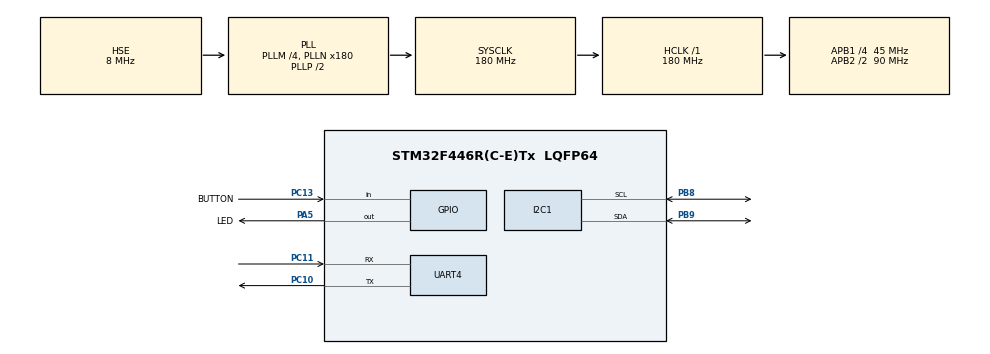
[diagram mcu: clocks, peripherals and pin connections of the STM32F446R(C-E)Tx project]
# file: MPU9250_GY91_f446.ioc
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Mcu.Family=STM32F4
Mcu.Name=STM32F446R(C-E)Tx
Mcu.Package=LQFP64
NVIC.PriorityGroup=NVIC_PRIORITYGROUP_4
PA13.Mode=Serial_Wire
PA13.Signal=SYS_JTMS-SWDIO
PA14.Mode=Serial_Wire
PA14.Signal=SYS_JTCK-SWCLK
PA5.GPIO_Label=LED
PA5.Signal=GPIO_Output
PB8.GPIO_Pu=GPIO_PULLUP
PB8.Mode=I2C
PB8.Signal=I2C1_SCL
PB9.GPIO_Pu=GPIO_PULLUP
PB9.Mode=I2C
PB9.Signal=I2C1_SDA
PC10.Mode=Asynchronous
PC10.Signal=UART4_TX
PC11.Mode=Asynchronous
PC11.Signal=UART4_RX
PC13.GPIO_Label=BUTTON
PC13.Signal=GPIO_Input
PC14-OSC32_IN.Mode=LSE-External-Oscillator
PC14-OSC32_IN.Signal=RCC_OSC32_IN
PC15-OSC32_OUT.Mode=LSE-External-Oscillator
PC15-OSC32_OUT.Signal=RCC_OSC32_OUT
PH0-OSC_IN.Mode=HSE-External-Clock-Source
PH0-OSC_IN.Signal=RCC_OSC_IN
PH1-OSC_OUT.Mode=HSE-External-Clock-Source
PH1-OSC_OUT.Signal=RCC_OSC_OUT
ProjectManager.HeapSize=0x200
ProjectManager.StackSize=0x400
ProjectManager.TargetToolchain=STM32CubeIDE
RCC.AHBFreq_Value=180000000
RCC.APB1CLKDivider=RCC_HCLK_DIV4
RCC.APB1Freq_Value=45000000
RCC.APB1TimFreq_Value=90000000
RCC.APB2CLKDivider=RCC_HCLK_DIV2
RCC.APB2Freq_Value=90000000
RCC.APB2TimFreq_Value=180000000
RCC.CortexFreq_Value=180000000
RCC.HCLKFreq_Value=180000000
RCC.HSE_VALUE=8000000
RCC.PLLM=4
RCC.PLLN=180
RCC.PLLSourceVirtual=RCC_PLLSOURCE_HSE
RCC.SYSCLKFreq_VALUE=180000000
RCC.SYSCLKSource=RCC_SYSCLKSOURCE_PLLCLK
RCC.USBFreq_Value=180000000
RCC.VCOOutputFreq_Value=360000000
UART4.VirtualMode=Asynchronous
board=custom

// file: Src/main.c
/* USER CODE BEGIN Header */
/**
  ******************************************************************************
  * @file           : main.c
  * @brief          : Main program body
  ******************************************************************************
  * @attention
  *
  * <h2><center>&copy; Copyright (c) 2020 STMicroelectronics.
  * All rights reserved.</center></h2>
  *
  * This software component is licensed by ST under BSD 3-Clause license,
  * the "License"; You may not use this file except in compliance with the
  * License. You may obtain a copy of the License at:
  *                        opensource.org/licenses/BSD-3-Clause
  *
  ******************************************************************************
  */
/* USER CODE END Header */
#include "main.h"
#include "i2c.h"
#include "usart.h"
#include "gpio.h"

/* USER CODE BEGIN Includes */

	#include <string.h>
	#include "stdio.h"
	#include "lcd.h"
	#include "i2c_techmaker_sm.h"
	#include "BMP280_sm.h"
	#include "MPU9250_sm.h"
	#include "MadgwickAHRS_sm.h"

/* USER CODE END Includes */

void SystemClock_Config(void);

int main(void)
{

  /* MCU Configuration--------------------------------------------------------*/

  /* Reset of all peripherals, Initializes the Flash interface and the Systick. */
  HAL_Init();

  /* Configure the system clock */
  SystemClock_Config();

  /* Initialize all configured peripherals */
  MX_GPIO_Init();
  MX_UART4_Init();
  MX_I2C1_Init();
  /* USER CODE BEGIN 2 */

	char		debugString[150]	= {0};
	sprintf(debugString,"MPU-9250.\r\n");
	HAL_UART_Transmit(&huart4, (uint8_t *)debugString, strlen(debugString), 100);

	LCD_Init() ;
	LCD_SetRotation( 1 ) ;
	LCD_SetCursor( 0 , 0 ) ;
	LCD_FillScreen( ILI92_BLACK ) ;
	LCD_SetTextColor( ILI92_GREEN , ILI92_BLACK) ;
	sprintf(debugString,">> LCD_Init - Ok\r\n" );HAL_UART_Transmit(&huart4,(uint8_t*)debugString,strlen(debugString),100) ;
	LCD_Printf( "%s" , debugString ) ;

	#define	SOFT_VERSION	110
	int		soft_version_arr_int[3] = {0} ;
	soft_version_arr_int[0] 	= ((SOFT_VERSION) / 100) %10 ;
	soft_version_arr_int[1] 	= ((SOFT_VERSION) /  10) %10 ;
	soft_version_arr_int[2] 	= ((SOFT_VERSION)      ) %10 ;
	sprintf (	debugString																			,
				"MPU-9250.\r\n2020-May-22 v%d.%d.%d \r\nfor_debug UART4 115200/8-N-1\r\n"	,
				soft_version_arr_int[0]																,
				soft_version_arr_int[1]																,
				soft_version_arr_int[2]																) ;

	LCD_Printf( "%s" , debugString ) ;
	HAL_UART_Transmit(&huart4, (uint8_t *)debugString, strlen(debugString), 100);

	I2Cdev_init(&hi2c1);
	I2C_ScanBusFlow(&hi2c1, &huart4);

	double temp = 0, alt = 0;
	double press = 0;
	int8_t com_rslt = 13;
	float ax, ay, az;
	float gx, gy, gz;
	float mx, my, mz;
	float aX, aY, aZ;	// angle
	uint32_t lastTime, currentTime, drawTime;

	#define ANGLEBASE 20.0
	#define PI180 0.017453292
	#define COS45 0.7071
	#define R1 25
	#define R2 50
	int cntr_int	= 0;

	//LCD_Printf("Connecting to BMP280...\n");
	sprintf(debugString,"Connecting to BMP280... ");
	HAL_UART_Transmit(&huart4, (uint8_t *)debugString, strlen(debugString), 100);
	LCD_Printf("%s" , debugString);

	bmp280_t bmp280;
	com_rslt = BMP280_init(&bmp280);
	com_rslt += BMP280_set_power_mode(BMP280_NORMAL_MODE);
	com_rslt += BMP280_set_work_mode(BMP280_STANDARD_RESOLUTION_MODE);
	com_rslt += BMP280_set_standby_durn(BMP280_STANDBY_TIME_1_MS);
	if (com_rslt != SUCCESS) {
		sprintf(debugString," Check BMP280 connection! \t Program terminated!!!<<<<\r\n");
		HAL_UART_Transmit(&huart4, (uint8_t *)debugString, strlen(debugString), 100);
		LCD_Printf("%s" , debugString);
		//return 0;
	} else {
		//	LCD_Printf("Connection successful!\n");
		sprintf(debugString,"Connection successful!\r\n");
		HAL_UART_Transmit(&huart4, (uint8_t *)debugString, strlen(debugString), 100);
		LCD_Printf("%s" , debugString);
	}

	//LCD_Printf("Connecting to MPU9250...\n");
	sprintf(debugString,"Connecting to MPU9250...");
	HAL_UART_Transmit(&huart4, (uint8_t *)debugString, strlen(debugString), 100);
	LCD_Printf("%s" , debugString);

	while(!MPU9250_testConnection());
	MPU9250_initialize();
	MPU9250_setFullScaleGyroRange(MPU9250_GYRO_FS_1000); // 1000 град/сек
	MPU9250_setFullScaleAccelRange(MPU9250_ACCEL_FS_4); // 4g
	//LCD_Printf("Connection successful!\n\n");
	sprintf(debugString," connection successful!\r\n");
	HAL_UART_Transmit(&huart4, (uint8_t *)debugString, strlen(debugString), 100);
	LCD_Printf("%s" , debugString);

	Madgwick_init();
	lastTime = drawTime = HAL_GetTick();

	HAL_Delay(1000);
	LCD_FillScreen(ILI92_BLACK);

  /* USER CODE END 2 */

  /* Infinite loop */
  /* USER CODE BEGIN WHILE */
  while (1)
  {
		HAL_GPIO_TogglePin(LED_GPIO_Port,LED_Pin);
		HAL_Delay(1000);

		BMP280_read_temperature_double(&temp);
		BMP280_read_pressure_double(&press);
		alt = BMP280_calculate_altitude(102900); // insert actual data here

		MPU9250_getMotion9Real(&ax, &ay, &az, &gx, &gy, &gz, &mx, &my, &mz);

		currentTime = HAL_GetTick();
		Madgwick_update(gx, gy, gz, ax, ay, az, mx, my, mz, (currentTime - lastTime)/1000.0);
		lastTime = currentTime;

		aX = Madgwick_getPitch() ;
		aY = Madgwick_getRoll()  ;
		aZ = Madgwick_getYaw() - 180.0 ;

		LCD_SetCursor(0, 0);
		LCD_FillScreen(ILI92_BLACK);
			//	LCD_Printf("T: %6.2f C  P: %6.0f Pa  A: %3.0f m\n", temp, press, alt);
		sprintf(debugString,"T: %6.2f C  P: %6.0f Pa  A: %3.0f m\r\n", temp, press, alt);
		HAL_UART_Transmit(&huart4, (uint8_t *)debugString, strlen(debugString), 100);
		LCD_Printf("%s" , debugString);

			//	LCD_Printf("Accel:   %7.4f %7.4f %7.4f\n", ax, ay, az);
		sprintf(debugString,"Accel:   %7.4f %7.4f %7.4f\r\n", ax, ay, az);
		HAL_UART_Transmit(&huart4, (uint8_t *)debugString, strlen(debugString), 100);
		LCD_Printf("%s" , debugString);

			//	LCD_Printf("Gyro:    %7.4f %7.4f %7.4f\n", gx, gy, gz);
		sprintf(debugString,"Gyro:    %7.4f %7.4f %7.4f\r\n", gx, gy, gz);
		HAL_UART_Transmit(&huart4, (uint8_t *)debugString, strlen(debugString), 100);
		LCD_Printf("%s" , debugString);

			//	LCD_Printf("Compass: %7.1f %7.1f %7.1f\n\n", mx, my, mz);
		sprintf(debugString,"Compass: %7.1f %7.1f %7.1f\r\n", mx, my, mz);
		HAL_UART_Transmit(&huart4, (uint8_t *)debugString, strlen(debugString), 100);
		LCD_Printf("%s" , debugString);

			//	LCD_Printf("Madg: X: %5.1f Y: %5.1f Z: %5.1f\n", aX, aY, aZ);
		sprintf(debugString,"Madg: X: %5.1f Y: %5.1f Z: %5.1f\r\n\r\n", aX, aY, aZ);
		HAL_UART_Transmit(&huart4, (uint8_t *)debugString, strlen(debugString), 100);
		LCD_Printf("%s" , debugString);

		//sprintf(debugString,"%04d\t%5.1f\t%5.1f\t%5.1f\r\n",cntr_int++, aX), aY, aZ);
		sprintf(debugString,"%04d\t%5d\t%5d\t%5d\r\n",cntr_int++, (int)aX, (int)aY, (int)aZ ) ;
		HAL_UART_Transmit(&huart4, (uint8_t *)debugString, strlen(debugString), 100);

		//LCD_Printf("Max : X: %5.1f Y: %5.1f Z: %5.1f\n", aXmax, aYmax, aZmax);
		//LCD_Printf("Min : X: %5.1f Y: %5.1f Z: %5.1f\n", aXmin, aYmin, aZmin);

		//LCD_Printf("Old_Madg: P: %5.1f R: %5.1f Y: %5.1f\n", Madgwick_getPitch(), Madgwick_getRoll(), Madgwick_getYaw() );

    /* USER CODE END WHILE */

  }
}

void SystemClock_Config(void)
{
  RCC_OscInitTypeDef RCC_OscInitStruct = {0};
  RCC_ClkInitTypeDef RCC_ClkInitStruct = {0};

  /** Configure the main internal regulator output voltage
  */
  __HAL_RCC_PWR_CLK_ENABLE();
  __HAL_PWR_VOLTAGESCALING_CONFIG(PWR_REGULATOR_VOLTAGE_SCALE1);

  /** Initializes the RCC Oscillators according to the specified parameters
  * in the RCC_OscInitTypeDef structure.
  */
  RCC_OscInitStruct.OscillatorType = RCC_OSCILLATORTYPE_HSE;
  RCC_OscInitStruct.HSEState = RCC_HSE_BYPASS;
  RCC_OscInitStruct.PLL.PLLState = RCC_PLL_ON;
  RCC_OscInitStruct.PLL.PLLSource = RCC_PLLSOURCE_HSE;
  RCC_OscInitStruct.PLL.PLLM = 4;
  RCC_OscInitStruct.PLL.PLLN = 180;
  RCC_OscInitStruct.PLL.PLLP = RCC_PLLP_DIV2;
  RCC_OscInitStruct.PLL.PLLQ = 2;
  RCC_OscInitStruct.PLL.PLLR = 2;
  if (HAL_RCC_OscConfig(&RCC_OscInitStruct) != HAL_OK)
  {
    Error_Handler();
  }

  /** Activate the Over-Drive mode
  */
  if (HAL_PWREx_EnableOverDrive() != HAL_OK)
  {
    Error_Handler();
  }

  /** Initializes the CPU, AHB and APB buses clocks
  */
  RCC_ClkInitStruct.ClockType = RCC_CLOCKTYPE_HCLK|RCC_CLOCKTYPE_SYSCLK
                              |RCC_CLOCKTYPE_PCLK1|RCC_CLOCKTYPE_PCLK2;
  RCC_ClkInitStruct.SYSCLKSource = RCC_SYSCLKSOURCE_PLLCLK;
  RCC_ClkInitStruct.AHBCLKDivider = RCC_SYSCLK_DIV1;
  RCC_ClkInitStruct.APB1CLKDivider = RCC_HCLK_DIV4;
  RCC_ClkInitStruct.APB2CLKDivider = RCC_HCLK_DIV2;

  if (HAL_RCC_ClockConfig(&RCC_ClkInitStruct, FLASH_LATENCY_5) != HAL_OK)
  {
    Error_Handler();
  }
}

void Error_Handler(void)
{
}
